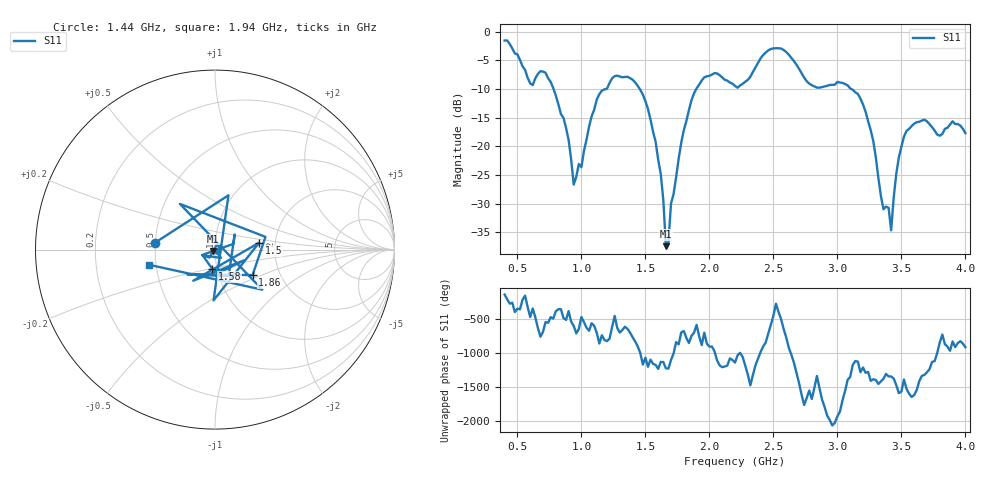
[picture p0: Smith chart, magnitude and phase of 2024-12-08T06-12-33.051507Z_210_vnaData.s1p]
!Created with skrf (http://scikit-rf.org).
# Hz S RI R 50.0
!freq ReS11 ImS11
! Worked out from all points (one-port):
!   181 points, 400 MHz to 4 GHz, reference 50 ohm
!   lowest |S11| = -37.4 dB at 1.66 GHz (marker M1), VSWR 1.03, Z = 48.9 - j0.699 ohm
!   |S11| at or under -10 dB: 782.5 MHz to 1.189 GHz (407 MHz wide, 41.3 % of centre); 1.456 GHz to 1.897 GHz (440.8 MHz wide, 26.3 % of centre); 3.109 GHz to end of sweep
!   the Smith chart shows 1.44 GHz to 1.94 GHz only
!   S11 on the Smith chart (normalised r, x): 1.44 GHz: 0.50, +0.04; 1.5 GHz: 1.64, +0.13; 1.58 GHz: 0.95, -0.21; 1.86 GHz: 1.45, -0.44; 1.94 GHz: 0.46, -0.09
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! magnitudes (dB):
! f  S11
! 400 MHz  -1.5
! 600 MHz  -9.0
! 720 MHz  -7.2
! 860 MHz  -15.0
! 940 MHz  -26.7
! 1.12 GHz  -11.8
! 1.3 GHz  -7.8
! 1.44 GHz  -9.4
! 1.5 GHz  -12.1
! 1.58 GHz  -19.2
! 1.62 GHz  -24.8
! 1.66 GHz  -37.4
! 1.68 GHz  -36.8
! 1.76 GHz  -22.1
! 1.86 GHz  -11.9
! 1.94 GHz  -8.5
! 2.2 GHz  -9.4
! 2.48 GHz  -3.0
! 2.66 GHz  -5.1
! 2.8 GHz  -9.3
! 3.1 GHz  -9.9
! 3.22 GHz  -13.9
! 3.36 GHz  -31.0
! 3.4 GHz  -30.7
! 3.42 GHz  -34.7
! 3.48 GHz  -22.0
! 3.56 GHz  -17.0
! 4 GHz  -17.7
